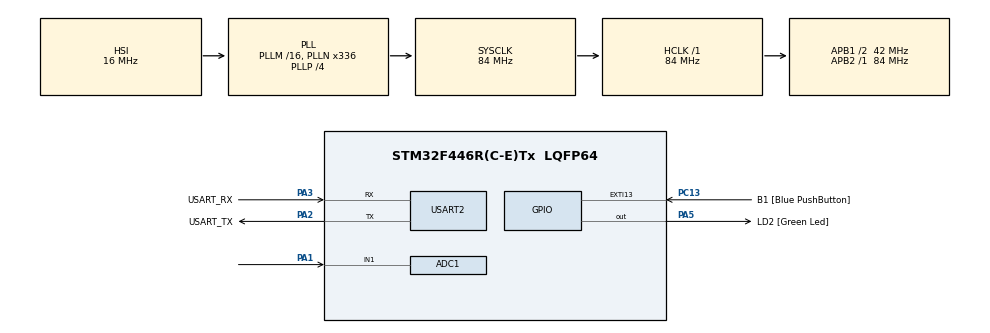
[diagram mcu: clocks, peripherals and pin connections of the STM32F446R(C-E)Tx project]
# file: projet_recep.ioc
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ADC1.Channel-0\#ChannelRegularConversion=ADC_CHANNEL_1
ADC1.NbrOfConversionFlag=1
ADC1.Rank-0\#ChannelRegularConversion=1
ADC1.SamplingTime-0\#ChannelRegularConversion=ADC_SAMPLETIME_3CYCLES
ADC1.master=1
Mcu.Family=STM32F4
Mcu.Name=STM32F446R(C-E)Tx
Mcu.Package=LQFP64
NVIC.PriorityGroup=NVIC_PRIORITYGROUP_0
PA1.Signal=ADCx_IN1
PA13.GPIO_Label=TMS
PA13.Mode=Serial_Wire
PA13.Signal=SYS_JTMS-SWDIO
PA14.GPIO_Label=TCK
PA14.Mode=Serial_Wire
PA14.Signal=SYS_JTCK-SWCLK
PA2.GPIO_Label=USART_TX
PA2.Mode=Asynchronous
PA2.Signal=USART2_TX
PA3.GPIO_Label=USART_RX
PA3.Mode=Asynchronous
PA3.Signal=USART2_RX
PA5.GPIO_Label=LD2 [Green Led]
PA5.Signal=GPIO_Output
PB3.GPIO_Label=SWO
PB3.Signal=SYS_JTDO-SWO
PC13.GPIO_Label=B1 [Blue PushButton]
PC13.GPIO_ModeDefaultEXTI=GPIO_MODE_IT_FALLING
PC13.Signal=GPXTI13
PC14-OSC32_IN.Mode=LSE-External-Oscillator
PC14-OSC32_IN.Signal=RCC_OSC32_IN
PC15-OSC32_OUT.Mode=LSE-External-Oscillator
PC15-OSC32_OUT.Signal=RCC_OSC32_OUT
PH0-OSC_IN.Mode=HSE-External-Oscillator
PH0-OSC_IN.Signal=RCC_OSC_IN
PH1-OSC_OUT.Mode=HSE-External-Oscillator
PH1-OSC_OUT.Signal=RCC_OSC_OUT
ProjectManager.HeapSize=0x200
ProjectManager.StackSize=0x400
ProjectManager.TargetToolchain=STM32CubeIDE
RCC.48MHZClocksFreq_Value=84000000
RCC.AHBFreq_Value=84000000
RCC.APB1CLKDivider=RCC_HCLK_DIV2
RCC.APB1Freq_Value=42000000
RCC.APB1TimFreq_Value=84000000
RCC.APB2Freq_Value=84000000
RCC.APB2TimFreq_Value=84000000
RCC.CortexFreq_Value=84000000
RCC.FLatency-AdvancedSettings=FLASH_LATENCY_2
RCC.HCLKFreq_Value=84000000
RCC.HSE_VALUE=8000000
RCC.HSI_VALUE=16000000
RCC.PLLN=336
RCC.PLLP=RCC_PLLP_DIV4
RCC.SYSCLKFreq_VALUE=84000000
RCC.SYSCLKSource=RCC_SYSCLKSOURCE_PLLCLK
RCC.USBFreq_Value=168000000
RCC.VCOOutputFreq_Value=336000000
SH.ADCx_IN1.0=ADC1_IN1,IN1
USART2.VirtualMode=VM_ASYNC
board=NUCLEO-F446RE

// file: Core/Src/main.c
/* USER CODE BEGIN Header */
/**
  ******************************************************************************
  * @file           : main.c
  * @brief          : Main program body
  ******************************************************************************
  * @attention
  *
  * Copyright (c) 2024 STMicroelectronics.
  * All rights reserved.
  *
  * This software is licensed under terms that can be found in the LICENSE file
  * in the root directory of this software component.
  * If no LICENSE file comes with this software, it is provided AS-IS.
  *
  ******************************************************************************
  */
/* USER CODE END Header */
#include "main.h"

ADC_HandleTypeDef hadc1;

UART_HandleTypeDef huart2;

void SystemClock_Config(void);
static void MX_GPIO_Init(void);
static void MX_USART2_UART_Init(void);
static void MX_ADC1_Init(void);
/* USER CODE BEGIN PFP */
const char *char_sounds[] = {
    "._",    // A
    "_...",  // B
    "_._.",  // C
    "_..",   // D
    ".",     // E
    ".._.",  // F
    "__.",   // G
    "....",  // H
    "..",    // I
    ".___",  // J
    "_._",   // K
    "._..",  // L
    "__",    // M
    "_.",    // N
    "___",   // O
    ".__.",  // P
    "__._",  // Q
    "._.",   // R
    "...",   // S
    "_",     // T
    ".._",   // U
    "..._",  // V
    ".__",   // W
    "_.._",  // X
    "_.__",  // Y
    "__..",  // Z
    " ",     // Espace
    " ",     // Autres caractÃ¨res
};

char decode_morse_letter(const char morse_code) {
    for (int i = 0; i < 28; i++) {
        if (strcmp(morse_code, char_sounds[i]) == 0) {
            if (i < 26) {
                return 'A' + i; // A ASCII 65, B ASCII 66...
            } else if (i == 26) {
                return ' '; //Espace
            } else {
                return '?';
            }
        }
    }
}

char* decode_morse(const char *morse_code) {
    int i = 0;
    char *string = malloc(strlen(morse_code) + 1); // Allocate memory for decoded string
    if (string == NULL) {
        return NULL; // Memory allocation failed
    }

    while (morse_code[i] != '\0') { // Fix '\0' termination
        string[i] = decode_morse_letter(morse_code[i]);
        i++;
    }
    string[i] = '\0'; // Null-terminate the string
    return string;
}

int adc_value;
char buffer[50];
/* USER CODE END PFP */

uint32_t valeura;
int main(void)
{

  /* MCU Configuration--------------------------------------------------------*/

  /* Reset of all peripherals, Initializes the Flash interface and the Systick. */
  HAL_Init();

  /* Configure the system clock */
  SystemClock_Config();

  /* Initialize all configured peripherals */
  MX_GPIO_Init();
  MX_USART2_UART_Init();
  MX_ADC1_Init();

  /* Infinite loop */

 	  	char msg[20];

  /* USER CODE BEGIN WHILE */
	    int timer_start;
	    int duration;
	    int k=0;
	    int en_cours;
	    int temps_pause;
	    char code_morse[150];

  while (1)
  {

//
	         if (HAL_ADC_Start(&hadc1) != HAL_OK)
	         {
	             Error_Handler();
	         }

	         /* Wait for ADC conversion to complete */
	         if (HAL_ADC_PollForConversion(&hadc1, HAL_MAX_DELAY) != HAL_OK)
	         {
	             Error_Handler();
	         }

	         adc_value= HAL_ADC_GetValue(&hadc1);
//	         sprintf(buffer, "Start listening %lu \n", adc_value);
//	      	 HAL_UART_Transmit(&huart2, buffer, strlen(buffer), 1000);

	         if (adc_value > 4050) {
	      	en_cours = 1;
	         	timer_start = HAL_GetTick(); // Store the start time
//	          sprintf(buffer, "Start listening %lu \n", adc_value);
	         HAL_UART_Transmit(&huart2, buffer, strlen(buffer), 1000);
	          while (adc_value > 4050 || adc_value <=3950) {
	      		HAL_Delay(80); // Add a delay of 100 milliseconds
	              if (HAL_ADC_Start(&hadc1) != HAL_OK) {
	                  Error_Handler();
	              }

	              /* Wait for ADC conversion to complete */
	              if (HAL_ADC_PollForConversion(&hadc1, HAL_MAX_DELAY) != HAL_OK) {
	                  Error_Handler();
	              }

	      		adc_value = HAL_ADC_GetValue(&hadc1);
	          }
//	  		sprintf(buffer, "valeur %lu \n", adc_value);
	  		HAL_UART_Transmit(&huart2, buffer, strlen(buffer), 1000);
	         	duration = HAL_GetTick() - timer_start; // Calculate the duration
	      	temps_pause = HAL_GetTick();
//	         	sprintf(buffer, "Duration %lu \n", duration);
//	         	HAL_UART_Transmit(&huart2, buffer, strlen(buffer), 1000);

	          if (duration > 50 && duration <= 400){
	       	   HAL_UART_Transmit(&huart2, ".\n", 2, 1000);
	       	   code_morse[k] = '.';
	       	   k++;
	          }
	          else if (duration > 450 && duration <= 900){
	       	   HAL_UART_Transmit(&huart2, "_\n", 2, 1000);
	       	   code_morse[k] = '_';
	       	   k++;
	          }
	         }

	         else {

	      	   if (en_cours == 1 && (HAL_GetTick() - temps_pause > 1500)){
	      		   char val[100]; // Declare a character array to hold the code_morse string
	      		   strncpy(val, code_morse, k); // Use strcpy to copy the string
	      		   val[k] = '\0'; // Add null terminator to the copied string
//	      		   sprintf(buffer, "code morse recupere : %s", val);
	      		   en_cours = 0;
	      		   k=0;
	      		   HAL_UART_Transmit(&huart2, buffer, strlen(buffer), 1000);
	      	   }
	         }
	         HAL_Delay(80);
	      //...
	    }
//				}
}
    /* USER CODE END WHILE */

void SystemClock_Config(void)
{
  RCC_OscInitTypeDef RCC_OscInitStruct = {0};
  RCC_ClkInitTypeDef RCC_ClkInitStruct = {0};

  /** Configure the main internal regulator output voltage
  */
  __HAL_RCC_PWR_CLK_ENABLE();
  __HAL_PWR_VOLTAGESCALING_CONFIG(PWR_REGULATOR_VOLTAGE_SCALE3);

  /** Initializes the RCC Oscillators according to the specified parameters
  * in the RCC_OscInitTypeDef structure.
  */
  RCC_OscInitStruct.OscillatorType = RCC_OSCILLATORTYPE_HSI;
  RCC_OscInitStruct.HSIState = RCC_HSI_ON;
  RCC_OscInitStruct.HSICalibrationValue = RCC_HSICALIBRATION_DEFAULT;
  RCC_OscInitStruct.PLL.PLLState = RCC_PLL_ON;
  RCC_OscInitStruct.PLL.PLLSource = RCC_PLLSOURCE_HSI;
  RCC_OscInitStruct.PLL.PLLM = 16;
  RCC_OscInitStruct.PLL.PLLN = 336;
  RCC_OscInitStruct.PLL.PLLP = RCC_PLLP_DIV4;
  RCC_OscInitStruct.PLL.PLLQ = 2;
  RCC_OscInitStruct.PLL.PLLR = 2;
  if (HAL_RCC_OscConfig(&RCC_OscInitStruct) != HAL_OK)
  {
    Error_Handler();
  }

  /** Initializes the CPU, AHB and APB buses clocks
  */
  RCC_ClkInitStruct.ClockType = RCC_CLOCKTYPE_HCLK|RCC_CLOCKTYPE_SYSCLK
                              |RCC_CLOCKTYPE_PCLK1|RCC_CLOCKTYPE_PCLK2;
  RCC_ClkInitStruct.SYSCLKSource = RCC_SYSCLKSOURCE_PLLCLK;
  RCC_ClkInitStruct.AHBCLKDivider = RCC_SYSCLK_DIV1;
  RCC_ClkInitStruct.APB1CLKDivider = RCC_HCLK_DIV2;
  RCC_ClkInitStruct.APB2CLKDivider = RCC_HCLK_DIV1;

  if (HAL_RCC_ClockConfig(&RCC_ClkInitStruct, FLASH_LATENCY_2) != HAL_OK)
  {
    Error_Handler();
  }
}

static void MX_ADC1_Init(void)
{

  ADC_ChannelConfTypeDef sConfig = {0};

  /** Configure the global features of the ADC (Clock, Resolution, Data Alignment and number of conversion)
  */
  hadc1.Instance = ADC1;
  hadc1.Init.ClockPrescaler = ADC_CLOCK_SYNC_PCLK_DIV4;
  hadc1.Init.Resolution = ADC_RESOLUTION_12B;
  hadc1.Init.ScanConvMode = DISABLE;
  hadc1.Init.ContinuousConvMode = DISABLE;
  hadc1.Init.DiscontinuousConvMode = DISABLE;
  hadc1.Init.ExternalTrigConvEdge = ADC_EXTERNALTRIGCONVEDGE_NONE;
  hadc1.Init.ExternalTrigConv = ADC_SOFTWARE_START;
  hadc1.Init.DataAlign = ADC_DATAALIGN_RIGHT;
  hadc1.Init.NbrOfConversion = 1;
  hadc1.Init.DMAContinuousRequests = DISABLE;
  hadc1.Init.EOCSelection = ADC_EOC_SINGLE_CONV;
  if (HAL_ADC_Init(&hadc1) != HAL_OK)
  {
    Error_Handler();
  }

  /** Configure for the selected ADC regular channel its corresponding rank in the sequencer and its sample time.
  */
  sConfig.Channel = ADC_CHANNEL_1;
  sConfig.Rank = 1;
  sConfig.SamplingTime = ADC_SAMPLETIME_3CYCLES;
  if (HAL_ADC_ConfigChannel(&hadc1, &sConfig) != HAL_OK)
  {
    Error_Handler();
  }

}

static void MX_USART2_UART_Init(void)
{

  huart2.Instance = USART2;
  huart2.Init.BaudRate = 115200;
  huart2.Init.WordLength = UART_WORDLENGTH_8B;
  huart2.Init.StopBits = UART_STOPBITS_1;
  huart2.Init.Parity = UART_PARITY_NONE;
  huart2.Init.Mode = UART_MODE_TX_RX;
  huart2.Init.HwFlowCtl = UART_HWCONTROL_NONE;
  huart2.Init.OverSampling = UART_OVERSAMPLING_16;
  if (HAL_UART_Init(&huart2) != HAL_OK)
  {
    Error_Handler();
  }

}

static void MX_GPIO_Init(void)
{
  GPIO_InitTypeDef GPIO_InitStruct = {0};

  /* GPIO Ports Clock Enable */
  __HAL_RCC_GPIOC_CLK_ENABLE();
  __HAL_RCC_GPIOH_CLK_ENABLE();
  __HAL_RCC_GPIOA_CLK_ENABLE();
  __HAL_RCC_GPIOB_CLK_ENABLE();

  /*Configure GPIO pin Output Level */
  HAL_GPIO_WritePin(LD2_GPIO_Port, LD2_Pin, GPIO_PIN_RESET);

  /*Configure GPIO pin : B1_Pin */
  GPIO_InitStruct.Pin = B1_Pin;
  GPIO_InitStruct.Mode = GPIO_MODE_IT_FALLING;
  GPIO_InitStruct.Pull = GPIO_NOPULL;
  HAL_GPIO_Init(B1_GPIO_Port, &GPIO_InitStruct);

  /*Configure GPIO pin : LD2_Pin */
  GPIO_InitStruct.Pin = LD2_Pin;
  GPIO_InitStruct.Mode = GPIO_MODE_OUTPUT_PP;
  GPIO_InitStruct.Pull = GPIO_NOPULL;
  GPIO_InitStruct.Speed = GPIO_SPEED_FREQ_LOW;
  HAL_GPIO_Init(LD2_GPIO_Port, &GPIO_InitStruct);

}

void Error_Handler(void)
{
  __disable_irq();
  while (1)
  {
  }
}
